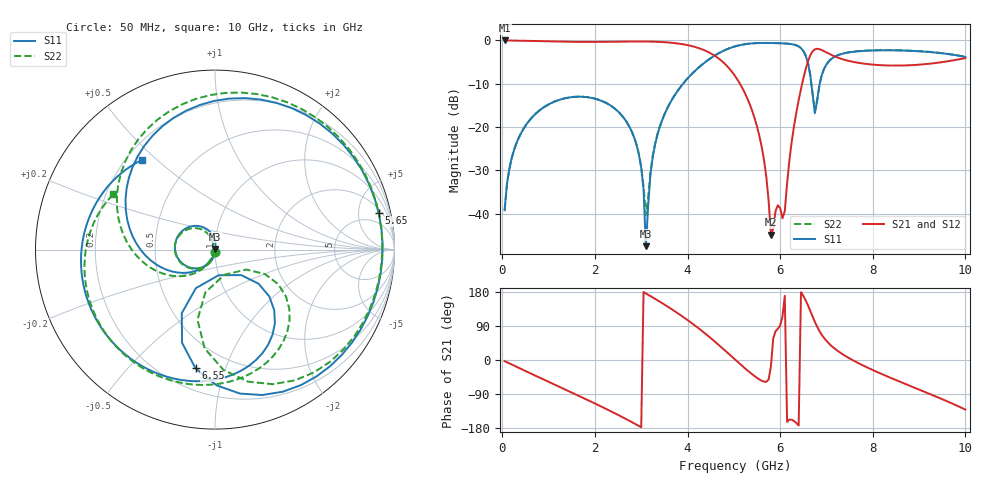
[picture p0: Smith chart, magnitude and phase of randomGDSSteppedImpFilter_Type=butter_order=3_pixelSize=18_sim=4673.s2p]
! freq	dB(S11)	phase(S11)	dB(S12)	phase(S12)
!  dB(S21)	phase(S21)	dB(S22)	phase(S22)
!S-par simulation data
#  GHz  S  DB  R 50
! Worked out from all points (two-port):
!   200 points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, 50 MHz to 10 GHz, reference 50 ohm
!   highest |S21| = -0.01 dB at 50 MHz (marker M1); lowest = -44.9 dB at 5.8 GHz (marker M2)
!   |S21| within 3 dB of the highest: start of sweep to 4.505 GHz; 6.674 GHz to 7.039 GHz (365.3 MHz wide, 5.33 % of centre)
!   lowest |S11| = -47.5 dB at 3.1 GHz (marker M3), VSWR 1.01, Z = 50.2 + j0.369 ohm
!   |S11| at or under -10 dB: start of sweep to 3.904 GHz; 6.673 GHz to 6.855 GHz (182 MHz wide, 2.69 % of centre)
!   |S22| runs from -40.3 to -0.6 dB; largest |S21 - S12| = 0
!   S11 on the Smith chart (normalised r, x): 50 MHz: 1.00, -0.02; 5.65 GHz: 2.60, +8.33; 6.55 GHz: 0.33, -0.79; 10 GHz: 0.26, +0.45
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0.05  -39.21 -92.4  -0.01 -3.0  -0.01 -3.0  -39.21 -92.3
0.2  -27.32 -101.8  -0.03 -11.7  -0.03 -11.7  -27.32 -101.4
0.5  -19.71 -119.9  -0.09 -29.0  -0.09 -29.0  -19.71 -119.0
1.75  -13.02 167.3  -0.34 -100.2  -0.34 -100.2  -13.02 171.1
2.8  -21.15 101.6  -0.25 -164.1  -0.25 -164.1  -21.14 112.5
3  -29.39 86.7  -0.24 -177.5  -0.24 -177.5  -29.20 108.7
3.1  -47.51 60.8  -0.25 175.6  -0.25 175.6  -40.31 156.8
3.2  -30.85 -103.6  -0.27 168.6  -0.27 168.6  -30.32 -117.1
3.4  -20.00 -120.1  -0.34 154.0  -0.34 154.0  -19.92 -119.2
4.15  -7.15 175.6  -1.47 92.0  -1.47 92.0  -7.13 -175.8
4.6  -3.42 129.7  -3.62 47.5  -3.62 47.5  -3.40 140.7
5.05  -1.30 78.8  -8.59 -1.5  -8.59 -1.5  -1.29 91.7
5.65  -0.59 12.5  -27.53 -57.1  -27.53 -57.1  -0.58 26.4
5.8  -0.60 -3.0  -44.87 -17.3  -44.87 -17.3  -0.59 10.9
6.1  -0.70 -34.1  -39.41 169.3  -39.41 169.3  -0.69 -20.4
6.25  -0.87 -51.3  -23.35 -157.5  -23.35 -157.5  -0.85 -37.7
6.55  -3.47 -99.3  -6.67 157.8  -6.67 157.8  -3.44 -85.9
6.7  -12.40 -116.4  -2.52 114.8  -2.52 114.8  -12.25 -102.7
6.75  -16.81 -82.2  -2.05 100.4  -2.05 100.4  -16.50 -69.5
7.15  -3.95 -65.4  -3.57 32.9  -3.57 32.9  -3.93 -53.1
8.35  -2.28 -141.2  -5.79 -45.2  -5.79 -45.2  -2.23 -127.5
10  -3.82 129.0  -4.07 -130.8  -4.07 -130.8  -3.81 151.4
